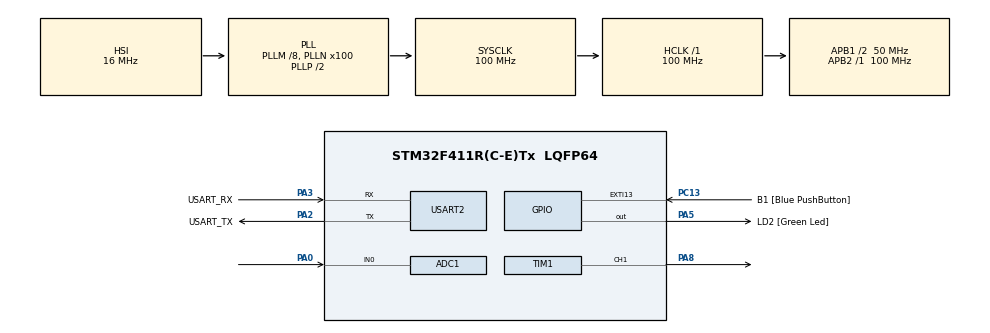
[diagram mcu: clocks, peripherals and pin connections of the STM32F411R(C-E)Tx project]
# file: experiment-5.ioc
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ADC1.Channel-0\#ChannelRegularConversion=ADC_CHANNEL_0
ADC1.ExternalTrigConv=ADC_EXTERNALTRIGCONV_T3_TRGO
ADC1.NbrOfConversionFlag=1
ADC1.Rank-0\#ChannelRegularConversion=1
ADC1.SamplingTime-0\#ChannelRegularConversion=ADC_SAMPLETIME_3CYCLES
ADC1.master=1
Mcu.Family=STM32F4
Mcu.Name=STM32F411R(C-E)Tx
Mcu.Package=LQFP64
NVIC.ADC_IRQn=true\:0\:0\:false\:false\:true\:true\:true
NVIC.PriorityGroup=NVIC_PRIORITYGROUP_0
NVIC.TIM1_TRG_COM_TIM11_IRQn=true\:0\:0\:false\:false\:true\:true\:true
PA0-WKUP.Signal=ADCx_IN0
PA13.GPIO_Label=TMS
PA13.Mode=Serial_Wire
PA13.Signal=SYS_JTMS-SWDIO
PA14.GPIO_Label=TCK
PA14.Mode=Serial_Wire
PA14.Signal=SYS_JTCK-SWCLK
PA2.GPIO_Label=USART_TX
PA2.Mode=Asynchronous
PA2.Signal=USART2_TX
PA3.GPIO_Label=USART_RX
PA3.Mode=Asynchronous
PA3.Signal=USART2_RX
PA5.GPIO_Label=LD2 [Green Led]
PA5.Signal=GPIO_Output
PA8.Signal=S_TIM1_CH1
PB3.GPIO_Label=SWO
PB3.Signal=SYS_JTDO-SWO
PC13-ANTI_TAMP.GPIO_Label=B1 [Blue PushButton]
PC13-ANTI_TAMP.GPIO_ModeDefaultEXTI=GPIO_MODE_IT_FALLING
PC13-ANTI_TAMP.Signal=GPXTI13
PC14-OSC32_IN.Mode=LSE-External-Oscillator
PC14-OSC32_IN.Signal=RCC_OSC32_IN
PC15-OSC32_OUT.Mode=LSE-External-Oscillator
PC15-OSC32_OUT.Signal=RCC_OSC32_OUT
PH0\ -\ OSC_IN.Mode=HSE-External-Clock-Source
PH0\ -\ OSC_IN.Signal=RCC_OSC_IN
PH1\ -\ OSC_OUT.Mode=HSE-External-Clock-Source
PH1\ -\ OSC_OUT.Signal=RCC_OSC_OUT
ProjectManager.HeapSize=0x200
ProjectManager.StackSize=0x400
ProjectManager.TargetToolchain=STM32CubeIDE
RCC.48MHZClocksFreq_Value=50000000
RCC.AHBFreq_Value=100000000
RCC.APB1CLKDivider=RCC_HCLK_DIV2
RCC.APB1Freq_Value=50000000
RCC.APB1TimFreq_Value=100000000
RCC.APB2Freq_Value=100000000
RCC.APB2TimFreq_Value=100000000
RCC.CortexFreq_Value=100000000
RCC.FLatency-AdvancedSettings=FLASH_LATENCY_3
RCC.HCLKFreq_Value=100000000
RCC.HSE_VALUE=8000000
RCC.HSI_VALUE=16000000
RCC.PLLM=8
RCC.PLLN=100
RCC.SYSCLKFreq_VALUE=100000000
RCC.SYSCLKSource=RCC_SYSCLKSOURCE_PLLCLK
RCC.VCOOutputFreq_Value=200000000
SH.ADCx_IN0.0=ADC1_IN0,IN0
SH.S_TIM1_CH1.0=TIM1_CH1,PWM Generation1 CH1
TIM1.Channel-PWM\ Generation1\ CH1=TIM_CHANNEL_1
TIM1.Period=9999
TIM11.Prescaler=99
TIM3.Period=999
TIM3.Prescaler=99
TIM3.TIM_MasterOutputTrigger=TIM_TRGO_UPDATE
USART2.VirtualMode=VM_ASYNC
VP_TIM11_VS_ClockSourceINT.Mode=Enable_Timer
VP_TIM1_VS_ClockSourceINT.Mode=Internal
VP_TIM3_VS_ClockSourceINT.Mode=Internal
board=NUCLEO-F411RE

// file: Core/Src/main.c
/* USER CODE BEGIN Header */
/**
  ******************************************************************************
  * @file           : main.c
  * @brief          : Main program body
  ******************************************************************************
  * @attention
  *
  * Copyright (c) 2022 STMicroelectronics.
  * All rights reserved.
  *
  * This software is licensed under terms that can be found in the LICENSE file
  * in the root directory of this software component.
  * If no LICENSE file comes with this software, it is provided AS-IS.
  *
  ******************************************************************************
  */
/* USER CODE END Header */
#include "main.h"

ADC_HandleTypeDef hadc1;

TIM_HandleTypeDef htim1;
TIM_HandleTypeDef htim3;
TIM_HandleTypeDef htim11;

UART_HandleTypeDef huart2;

/* USER CODE BEGIN PV */
uint8_t ADCUpdateFlag = 0;
uint16_t ADCFeedBack = 0;
float ADCVoltage = 0;
uint16_t PWMOut = 3000;//== 30% PWM
float Kp = 3;
float Ki = 1.5;
float deltaT = 1.0/1000.0; //time sampling for cplt conv
uint64_t _micro = 0;
uint64_t TimeOutputLoop = 0;
float Enow = 0;
float Epass = 0;
float Vinpass = 0;
float Vin;
/* USER CODE END PV */

void SystemClock_Config(void);
static void MX_GPIO_Init(void);
static void MX_USART2_UART_Init(void);
static void MX_ADC1_Init(void);
static void MX_TIM1_Init(void);
static void MX_TIM3_Init(void);
static void MX_TIM11_Init(void);
/* USER CODE BEGIN PFP */
uint64_t micros();
void control1(float error);
/* USER CODE END PFP */

int main(void)
{

  /* MCU Configuration--------------------------------------------------------*/

  /* Reset of all peripherals, Initializes the Flash interface and the Systick. */
  HAL_Init();

  /* Configure the system clock */
  SystemClock_Config();

  /* Initialize all configured peripherals */
  MX_GPIO_Init();
  MX_USART2_UART_Init();
  MX_ADC1_Init();
  MX_TIM1_Init();
  MX_TIM3_Init();
  MX_TIM11_Init();
  /* USER CODE BEGIN 2 */

  //ADC and Timer that Call ADC
  HAL_ADC_Start_IT(&hadc1);
  HAL_TIM_Base_Start(&htim3);

  // timer and OC that generate PWM
  HAL_TIM_Base_Start(&htim1);
  HAL_TIM_PWM_Start(&htim1, TIM_CHANNEL_1);

  //Timer For implement micros()
  HAL_TIM_Base_Start(&htim11);
  /* USER CODE END 2 */

  /* Infinite loop */
  while (1)
  {

    /* USER CODE BEGIN 3 */
	  // 2 khz Loop
	  if(micros() - TimeOutputLoop > 500){
		  TimeOutputLoop = micros();
		  //# 001
		  // TOOO Implement control
		  __HAL_TIM_SET_COMPARE(&htim1,TIM_CHANNEL_1,PWMOut);
	  }
	  if(ADCUpdateFlag){
		  ADCUpdateFlag = 0;
		  //#002
	  }
  }
  /* USER CODE END 3 */
}

void SystemClock_Config(void)
{
  RCC_OscInitTypeDef RCC_OscInitStruct = {0};
  RCC_ClkInitTypeDef RCC_ClkInitStruct = {0};

  /** Configure the main internal regulator output voltage
  */
  __HAL_RCC_PWR_CLK_ENABLE();
  __HAL_PWR_VOLTAGESCALING_CONFIG(PWR_REGULATOR_VOLTAGE_SCALE1);
  /** Initializes the RCC Oscillators according to the specified parameters
  * in the RCC_OscInitTypeDef structure.
  */
  RCC_OscInitStruct.OscillatorType = RCC_OSCILLATORTYPE_HSI;
  RCC_OscInitStruct.HSIState = RCC_HSI_ON;
  RCC_OscInitStruct.HSICalibrationValue = RCC_HSICALIBRATION_DEFAULT;
  RCC_OscInitStruct.PLL.PLLState = RCC_PLL_ON;
  RCC_OscInitStruct.PLL.PLLSource = RCC_PLLSOURCE_HSI;
  RCC_OscInitStruct.PLL.PLLM = 8;
  RCC_OscInitStruct.PLL.PLLN = 100;
  RCC_OscInitStruct.PLL.PLLP = RCC_PLLP_DIV2;
  RCC_OscInitStruct.PLL.PLLQ = 4;
  if (HAL_RCC_OscConfig(&RCC_OscInitStruct) != HAL_OK)
  {
    Error_Handler();
  }
  /** Initializes the CPU, AHB and APB buses clocks
  */
  RCC_ClkInitStruct.ClockType = RCC_CLOCKTYPE_HCLK|RCC_CLOCKTYPE_SYSCLK
                              |RCC_CLOCKTYPE_PCLK1|RCC_CLOCKTYPE_PCLK2;
  RCC_ClkInitStruct.SYSCLKSource = RCC_SYSCLKSOURCE_PLLCLK;
  RCC_ClkInitStruct.AHBCLKDivider = RCC_SYSCLK_DIV1;
  RCC_ClkInitStruct.APB1CLKDivider = RCC_HCLK_DIV2;
  RCC_ClkInitStruct.APB2CLKDivider = RCC_HCLK_DIV1;

  if (HAL_RCC_ClockConfig(&RCC_ClkInitStruct, FLASH_LATENCY_3) != HAL_OK)
  {
    Error_Handler();
  }
}

static void MX_ADC1_Init(void)
{

  ADC_ChannelConfTypeDef sConfig = {0};

  /** Configure the global features of the ADC (Clock, Resolution, Data Alignment and number of conversion)
  */
  hadc1.Instance = ADC1;
  hadc1.Init.ClockPrescaler = ADC_CLOCK_SYNC_PCLK_DIV4;
  hadc1.Init.Resolution = ADC_RESOLUTION_12B;
  hadc1.Init.ScanConvMode = DISABLE;
  hadc1.Init.ContinuousConvMode = DISABLE;
  hadc1.Init.DiscontinuousConvMode = DISABLE;
  hadc1.Init.ExternalTrigConvEdge = ADC_EXTERNALTRIGCONVEDGE_RISING;
  hadc1.Init.ExternalTrigConv = ADC_EXTERNALTRIGCONV_T3_TRGO;
  hadc1.Init.DataAlign = ADC_DATAALIGN_RIGHT;
  hadc1.Init.NbrOfConversion = 1;
  hadc1.Init.DMAContinuousRequests = DISABLE;
  hadc1.Init.EOCSelection = ADC_EOC_SINGLE_CONV;
  if (HAL_ADC_Init(&hadc1) != HAL_OK)
  {
    Error_Handler();
  }
  /** Configure for the selected ADC regular channel its corresponding rank in the sequencer and its sample time.
  */
  sConfig.Channel = ADC_CHANNEL_0;
  sConfig.Rank = 1;
  sConfig.SamplingTime = ADC_SAMPLETIME_3CYCLES;
  if (HAL_ADC_ConfigChannel(&hadc1, &sConfig) != HAL_OK)
  {
    Error_Handler();
  }

}

static void MX_TIM1_Init(void)
{

  TIM_ClockConfigTypeDef sClockSourceConfig = {0};
  TIM_MasterConfigTypeDef sMasterConfig = {0};
  TIM_OC_InitTypeDef sConfigOC = {0};
  TIM_BreakDeadTimeConfigTypeDef sBreakDeadTimeConfig = {0};

  htim1.Instance = TIM1;
  htim1.Init.Prescaler = 0;
  htim1.Init.CounterMode = TIM_COUNTERMODE_UP;
  htim1.Init.Period = 9999;
  htim1.Init.ClockDivision = TIM_CLOCKDIVISION_DIV1;
  htim1.Init.RepetitionCounter = 0;
  htim1.Init.AutoReloadPreload = TIM_AUTORELOAD_PRELOAD_DISABLE;
  if (HAL_TIM_Base_Init(&htim1) != HAL_OK)
  {
    Error_Handler();
  }
  sClockSourceConfig.ClockSource = TIM_CLOCKSOURCE_INTERNAL;
  if (HAL_TIM_ConfigClockSource(&htim1, &sClockSourceConfig) != HAL_OK)
  {
    Error_Handler();
  }
  if (HAL_TIM_PWM_Init(&htim1) != HAL_OK)
  {
    Error_Handler();
  }
  sMasterConfig.MasterOutputTrigger = TIM_TRGO_RESET;
  sMasterConfig.MasterSlaveMode = TIM_MASTERSLAVEMODE_DISABLE;
  if (HAL_TIMEx_MasterConfigSynchronization(&htim1, &sMasterConfig) != HAL_OK)
  {
    Error_Handler();
  }
  sConfigOC.OCMode = TIM_OCMODE_PWM1;
  sConfigOC.Pulse = 0;
  sConfigOC.OCPolarity = TIM_OCPOLARITY_HIGH;
  sConfigOC.OCNPolarity = TIM_OCNPOLARITY_HIGH;
  sConfigOC.OCFastMode = TIM_OCFAST_DISABLE;
  sConfigOC.OCIdleState = TIM_OCIDLESTATE_RESET;
  sConfigOC.OCNIdleState = TIM_OCNIDLESTATE_RESET;
  if (HAL_TIM_PWM_ConfigChannel(&htim1, &sConfigOC, TIM_CHANNEL_1) != HAL_OK)
  {
    Error_Handler();
  }
  sBreakDeadTimeConfig.OffStateRunMode = TIM_OSSR_DISABLE;
  sBreakDeadTimeConfig.OffStateIDLEMode = TIM_OSSI_DISABLE;
  sBreakDeadTimeConfig.LockLevel = TIM_LOCKLEVEL_OFF;
  sBreakDeadTimeConfig.DeadTime = 0;
  sBreakDeadTimeConfig.BreakState = TIM_BREAK_DISABLE;
  sBreakDeadTimeConfig.BreakPolarity = TIM_BREAKPOLARITY_HIGH;
  sBreakDeadTimeConfig.AutomaticOutput = TIM_AUTOMATICOUTPUT_DISABLE;
  if (HAL_TIMEx_ConfigBreakDeadTime(&htim1, &sBreakDeadTimeConfig) != HAL_OK)
  {
    Error_Handler();
  }
  HAL_TIM_MspPostInit(&htim1);

}

static void MX_TIM3_Init(void)
{

  TIM_ClockConfigTypeDef sClockSourceConfig = {0};
  TIM_MasterConfigTypeDef sMasterConfig = {0};

  htim3.Instance = TIM3;
  htim3.Init.Prescaler = 99;
  htim3.Init.CounterMode = TIM_COUNTERMODE_UP;
  htim3.Init.Period = 999;
  htim3.Init.ClockDivision = TIM_CLOCKDIVISION_DIV1;
  htim3.Init.AutoReloadPreload = TIM_AUTORELOAD_PRELOAD_DISABLE;
  if (HAL_TIM_Base_Init(&htim3) != HAL_OK)
  {
    Error_Handler();
  }
  sClockSourceConfig.ClockSource = TIM_CLOCKSOURCE_INTERNAL;
  if (HAL_TIM_ConfigClockSource(&htim3, &sClockSourceConfig) != HAL_OK)
  {
    Error_Handler();
  }
  sMasterConfig.MasterOutputTrigger = TIM_TRGO_UPDATE;
  sMasterConfig.MasterSlaveMode = TIM_MASTERSLAVEMODE_DISABLE;
  if (HAL_TIMEx_MasterConfigSynchronization(&htim3, &sMasterConfig) != HAL_OK)
  {
    Error_Handler();
  }

}

static void MX_TIM11_Init(void)
{

  htim11.Instance = TIM11;
  htim11.Init.Prescaler = 99;
  htim11.Init.CounterMode = TIM_COUNTERMODE_UP;
  htim11.Init.Period = 65535;
  htim11.Init.ClockDivision = TIM_CLOCKDIVISION_DIV1;
  htim11.Init.AutoReloadPreload = TIM_AUTORELOAD_PRELOAD_DISABLE;
  if (HAL_TIM_Base_Init(&htim11) != HAL_OK)
  {
    Error_Handler();
  }

}

static void MX_USART2_UART_Init(void)
{

  huart2.Instance = USART2;
  huart2.Init.BaudRate = 115200;
  huart2.Init.WordLength = UART_WORDLENGTH_8B;
  huart2.Init.StopBits = UART_STOPBITS_1;
  huart2.Init.Parity = UART_PARITY_NONE;
  huart2.Init.Mode = UART_MODE_TX_RX;
  huart2.Init.HwFlowCtl = UART_HWCONTROL_NONE;
  huart2.Init.OverSampling = UART_OVERSAMPLING_16;
  if (HAL_UART_Init(&huart2) != HAL_OK)
  {
    Error_Handler();
  }

}

static void MX_GPIO_Init(void)
{
  GPIO_InitTypeDef GPIO_InitStruct = {0};

  /* GPIO Ports Clock Enable */
  __HAL_RCC_GPIOC_CLK_ENABLE();
  __HAL_RCC_GPIOH_CLK_ENABLE();
  __HAL_RCC_GPIOA_CLK_ENABLE();
  __HAL_RCC_GPIOB_CLK_ENABLE();

  /*Configure GPIO pin Output Level */
  HAL_GPIO_WritePin(LD2_GPIO_Port, LD2_Pin, GPIO_PIN_RESET);

  /*Configure GPIO pin : B1_Pin */
  GPIO_InitStruct.Pin = B1_Pin;
  GPIO_InitStruct.Mode = GPIO_MODE_IT_FALLING;
  GPIO_InitStruct.Pull = GPIO_NOPULL;
  HAL_GPIO_Init(B1_GPIO_Port, &GPIO_InitStruct);

  /*Configure GPIO pin : LD2_Pin */
  GPIO_InitStruct.Pin = LD2_Pin;
  GPIO_InitStruct.Mode = GPIO_MODE_OUTPUT_PP;
  GPIO_InitStruct.Pull = GPIO_NOPULL;
  GPIO_InitStruct.Speed = GPIO_SPEED_FREQ_LOW;
  HAL_GPIO_Init(LD2_GPIO_Port, &GPIO_InitStruct);

}

/* USER CODE BEGIN 4 */
void HAL_ADC_ConvCpltCallback(ADC_HandleTypeDef* hadc)
{
	ADCFeedBack =  HAL_ADC_GetValue(&hadc1);
	ADCVoltage = ADCFeedBack*3.3/4096;
	Enow = 1.0-ADCVoltage;
	control1(Enow);
	ADCUpdateFlag = 1;
}

void HAL_TIM_PeriodElapsedCallback(TIM_HandleTypeDef *htim){
	if(htim == &htim11){
		_micro += 65535;
	}
}
uint64_t micros(){
	return _micro + htim11.Instance->CNT;
}
void control1(float error){
	Vin = (Kp * error)-(Kp*Epass)+(Ki*deltaT*error)+Vinpass ;
	PWMOut = Vin*9999;
	Vinpass =  Vin;
	Epass = error;
}
/* USER CODE END 4 */

void Error_Handler(void)
{
  __disable_irq();
  while (1)
  {
  }
}
